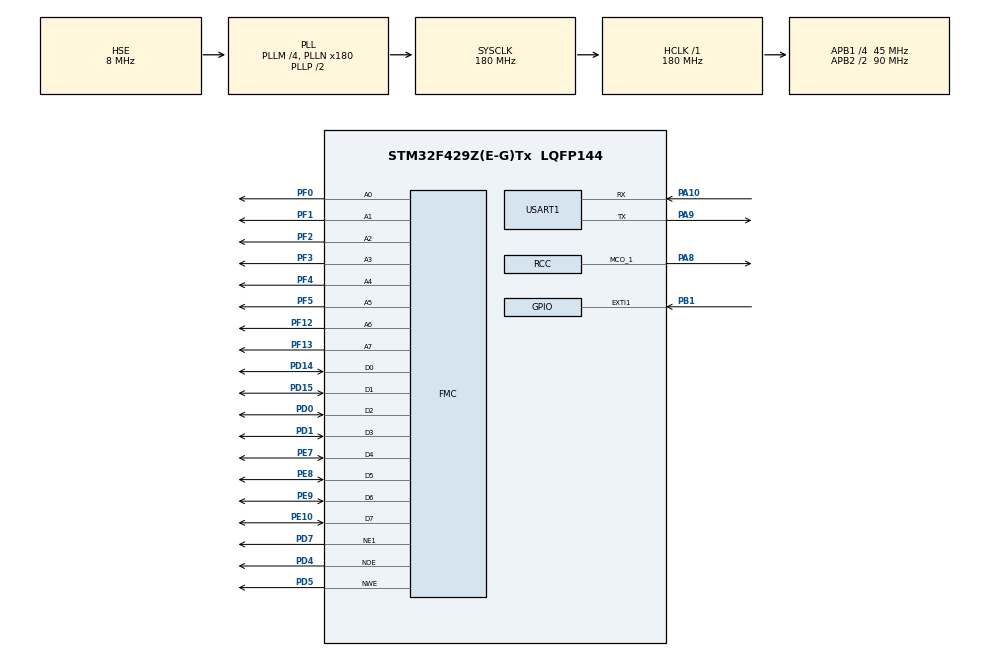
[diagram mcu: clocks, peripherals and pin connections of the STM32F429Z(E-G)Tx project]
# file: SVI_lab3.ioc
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FMC.WriteOperation1=FMC_WRITE_OPERATION_ENABLE
Mcu.Family=STM32F4
Mcu.Name=STM32F429Z(E-G)Tx
Mcu.Package=LQFP144
NVIC.EXTI1_IRQn=true\:0\:0\:false\:false\:true\:true\:true
NVIC.PriorityGroup=NVIC_PRIORITYGROUP_4
PA10.Mode=Asynchronous
PA10.Signal=USART1_RX
PA8.Mode=Clock-out-1
PA8.Signal=RCC_MCO_1
PA9.Mode=Asynchronous
PA9.Signal=USART1_TX
PB1.GPIO_ModeDefaultEXTI=GPIO_MODE_IT_RISING
PB1.GPIO_PuPd=GPIO_PULLUP
PB1.Signal=GPXTI1
PD0.Signal=FMC_D2_DA2
PD1.Signal=FMC_D3_DA3
PD14.Signal=FMC_D0_DA0
PD15.Signal=FMC_D1_DA1
PD4.Signal=FMC_NOE
PD5.Signal=FMC_NWE
PD7.Mode=NorPsramChipSelect1_1
PD7.Signal=FMC_NE1
PE10.Signal=FMC_D7_DA7
PE7.Signal=FMC_D4_DA4
PE8.Signal=FMC_D5_DA5
PE9.Signal=FMC_D6_DA6
PF0.Signal=FMC_A0
PF1.Signal=FMC_A1
PF12.Signal=FMC_A6
PF13.Signal=FMC_A7
PF2.Signal=FMC_A2
PF3.Signal=FMC_A3
PF4.Signal=FMC_A4
PF5.Signal=FMC_A5
PH0/OSC_IN.Mode=HSE-External-Oscillator
PH0/OSC_IN.Signal=RCC_OSC_IN
PH1/OSC_OUT.Mode=HSE-External-Oscillator
PH1/OSC_OUT.Signal=RCC_OSC_OUT
ProjectManager.HeapSize=0x200
ProjectManager.StackSize=0x400
ProjectManager.TargetToolchain=TrueSTUDIO
RCC.48MHZClocksFreq_Value=90000000
RCC.AHBFreq_Value=180000000
RCC.APB1CLKDivider=RCC_HCLK_DIV4
RCC.APB1Freq_Value=45000000
RCC.APB1TimFreq_Value=90000000
RCC.APB2CLKDivider=RCC_HCLK_DIV2
RCC.APB2Freq_Value=90000000
RCC.APB2TimFreq_Value=180000000
RCC.CortexFreq_Value=180000000
RCC.HCLKFreq_Value=180000000
RCC.HSE_VALUE=8000000
RCC.HSI_VALUE=16000000
RCC.LSE_VALUE=32768
RCC.PLLM=4
RCC.PLLN=180
RCC.PLLSourceVirtual=RCC_PLLSOURCE_HSE
RCC.SYSCLKFreq_VALUE=180000000
RCC.SYSCLKSource=RCC_SYSCLKSOURCE_PLLCLK
RCC.VCOOutputFreq_Value=360000000
SH.FMC_A0.0=FMC_A0,8b-a1
SH.FMC_A1.0=FMC_A1,8b-a1
SH.FMC_A2.0=FMC_A2,8b-a1
SH.FMC_A3.0=FMC_A3,8b-a1
SH.FMC_A4.0=FMC_A4,8b-a1
SH.FMC_A5.0=FMC_A5,8b-a1
SH.FMC_A6.0=FMC_A6,8b-a1
SH.FMC_A7.0=FMC_A7,8b-a1
SH.FMC_D0_DA0.0=FMC_D0,8b-d1
SH.FMC_D1_DA1.0=FMC_D1,8b-d1
SH.FMC_D2_DA2.0=FMC_D2,8b-d1
SH.FMC_D3_DA3.0=FMC_D3,8b-d1
SH.FMC_D4_DA4.0=FMC_D4,8b-d1
SH.FMC_D5_DA5.0=FMC_D5,8b-d1
SH.FMC_D6_DA6.0=FMC_D6,8b-d1
SH.FMC_D7_DA7.0=FMC_D7,8b-d1
SH.FMC_NOE.0=FMC_NOE,Sram1
SH.FMC_NWE.0=FMC_NWE,Sram1
USART1.VirtualMode=VM_ASYNC
board=custom

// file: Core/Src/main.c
/* USER CODE BEGIN Header */
/**
  ******************************************************************************
  * @file           : main.c
  * @brief          : Main program body
  ******************************************************************************
  * @attention
  *
  * <h2><center>&copy; Copyright (c) 2021 STMicroelectronics.
  * All rights reserved.</center></h2>
  *
  * This software component is licensed by ST under BSD 3-Clause license,
  * the "License"; You may not use this file except in compliance with the
  * License. You may obtain a copy of the License at:
  *                        opensource.org/licenses/BSD-3-Clause
  *
  ******************************************************************************
  */
/* USER CODE END Header */
#include "main.h"

/* USER CODE BEGIN Includes */
#include "Inel_SVI.h"
#include <stdio.h>
/* USER CODE END Includes */

UART_HandleTypeDef huart1;

SRAM_HandleTypeDef hsram1;

/* USER CODE BEGIN PV */
uint8_t num_digits[4];
uint16_t btn_counter = 99;
volatile uint8_t flag_irq = 0;
volatile uint32_t time_irq = 0;
/* USER CODE END PV */

void SystemClock_Config(void);
static void MX_GPIO_Init(void);
static void MX_FMC_Init(void);
static void MX_USART1_UART_Init(void);
/* USER CODE BEGIN PFP */
void ExtSramWrite(uint32_t addr, uint8_t data);
void DynamicDisplay(uint16_t num);
/* USER CODE END PFP */

int main(void)
{

  /* MCU Configuration--------------------------------------------------------*/

  /* Reset of all peripherals, Initializes the Flash interface and the Systick. */
  HAL_Init();

  /* Configure the system clock */
  SystemClock_Config();

  /* Initialize all configured peripherals */
  MX_GPIO_Init();
  MX_FMC_Init();
  MX_USART1_UART_Init();

  /* Infinite loop */
  while (1)
  {

    /* USER CODE BEGIN 3 */
	  /*10.3U indication
	  ExtSramWrite(Inel_SVI_SEGMENTS, Inel_SVI_Numbrs[1]);
	  ExtSramWrite(Inel_SVI_ANODES, 8);
	  HAL_Delay(2);
	  ExtSramWrite(Inel_SVI_SEGMENTS, Inel_SVI_Numbrs[0]|(1<<7));
	  ExtSramWrite(Inel_SVI_ANODES, 4);
	  HAL_Delay(2);
	  ExtSramWrite(Inel_SVI_SEGMENTS, Inel_SVI_Numbrs[3]);
	  ExtSramWrite(Inel_SVI_ANODES, 2);
	  HAL_Delay(2);
	  //U consist from: fedcb segments: 00111110 - 0x3E
	  ExtSramWrite(Inel_SVI_SEGMENTS, 0x3E);
	  ExtSramWrite(Inel_SVI_ANODES, 1);
	  HAL_Delay(2);
	  */
	  DynamicDisplay(btn_counter);

	  if(flag_irq && (HAL_GetTick() - time_irq) > 200) //(bounce of contacts avoiding) on BTN4
		  	  	  	  	  	  	  	  	  	  	  	   //check flag and count for 200ms
	  {
	    __HAL_GPIO_EXTI_CLEAR_IT(GPIO_PIN_1);  // clear bit EXTI_PR
	    NVIC_ClearPendingIRQ(EXTI1_IRQn); // clear bit NVIC_ICPRx
	    HAL_NVIC_EnableIRQ(EXTI1_IRQn);   // enable EXTI1
	    flag_irq = 0;

		if(btn_counter <= 9999) { //check max length on indicator
			btn_counter++;
		} else {
			btn_counter = 0;
		}

		DynamicDisplay(btn_counter);
	  }
  }
  /* USER CODE END 3 */
}

void SystemClock_Config(void)
{
  RCC_OscInitTypeDef RCC_OscInitStruct = {0};
  RCC_ClkInitTypeDef RCC_ClkInitStruct = {0};

  /** Configure the main internal regulator output voltage
  */
  __HAL_RCC_PWR_CLK_ENABLE();
  __HAL_PWR_VOLTAGESCALING_CONFIG(PWR_REGULATOR_VOLTAGE_SCALE1);
  /** Initializes the RCC Oscillators according to the specified parameters
  * in the RCC_OscInitTypeDef structure.
  */
  RCC_OscInitStruct.OscillatorType = RCC_OSCILLATORTYPE_HSI|RCC_OSCILLATORTYPE_HSE;
  RCC_OscInitStruct.HSEState = RCC_HSE_ON;
  RCC_OscInitStruct.HSIState = RCC_HSI_ON;
  RCC_OscInitStruct.HSICalibrationValue = RCC_HSICALIBRATION_DEFAULT;
  RCC_OscInitStruct.PLL.PLLState = RCC_PLL_ON;
  RCC_OscInitStruct.PLL.PLLSource = RCC_PLLSOURCE_HSE;
  RCC_OscInitStruct.PLL.PLLM = 4;
  RCC_OscInitStruct.PLL.PLLN = 180;
  RCC_OscInitStruct.PLL.PLLP = RCC_PLLP_DIV2;
  RCC_OscInitStruct.PLL.PLLQ = 4;
  if (HAL_RCC_OscConfig(&RCC_OscInitStruct) != HAL_OK)
  {
    Error_Handler();
  }
  /** Activate the Over-Drive mode
  */
  if (HAL_PWREx_EnableOverDrive() != HAL_OK)
  {
    Error_Handler();
  }
  /** Initializes the CPU, AHB and APB buses clocks
  */
  RCC_ClkInitStruct.ClockType = RCC_CLOCKTYPE_HCLK|RCC_CLOCKTYPE_SYSCLK
                              |RCC_CLOCKTYPE_PCLK1|RCC_CLOCKTYPE_PCLK2;
  RCC_ClkInitStruct.SYSCLKSource = RCC_SYSCLKSOURCE_PLLCLK;
  RCC_ClkInitStruct.AHBCLKDivider = RCC_SYSCLK_DIV1;
  RCC_ClkInitStruct.APB1CLKDivider = RCC_HCLK_DIV4;
  RCC_ClkInitStruct.APB2CLKDivider = RCC_HCLK_DIV2;

  if (HAL_RCC_ClockConfig(&RCC_ClkInitStruct, FLASH_LATENCY_5) != HAL_OK)
  {
    Error_Handler();
  }
  HAL_RCC_MCOConfig(RCC_MCO1, RCC_MCO1SOURCE_HSI, RCC_MCODIV_1);
}

static void MX_USART1_UART_Init(void)
{

  huart1.Instance = USART1;
  huart1.Init.BaudRate = 115200;
  huart1.Init.WordLength = UART_WORDLENGTH_8B;
  huart1.Init.StopBits = UART_STOPBITS_1;
  huart1.Init.Parity = UART_PARITY_NONE;
  huart1.Init.Mode = UART_MODE_TX_RX;
  huart1.Init.HwFlowCtl = UART_HWCONTROL_NONE;
  huart1.Init.OverSampling = UART_OVERSAMPLING_16;
  if (HAL_UART_Init(&huart1) != HAL_OK)
  {
    Error_Handler();
  }

}

/* FMC initialization function */
static void MX_FMC_Init(void)
{

  FMC_NORSRAM_TimingTypeDef Timing = {0};

  /** Perform the SRAM1 memory initialization sequence
  */
  hsram1.Instance = FMC_NORSRAM_DEVICE;
  hsram1.Extended = FMC_NORSRAM_EXTENDED_DEVICE;
  /* hsram1.Init */
  hsram1.Init.NSBank = FMC_NORSRAM_BANK1;
  hsram1.Init.DataAddressMux = FMC_DATA_ADDRESS_MUX_DISABLE;
  hsram1.Init.MemoryType = FMC_MEMORY_TYPE_SRAM;
  hsram1.Init.MemoryDataWidth = FMC_NORSRAM_MEM_BUS_WIDTH_8;
  hsram1.Init.BurstAccessMode = FMC_BURST_ACCESS_MODE_DISABLE;
  hsram1.Init.WaitSignalPolarity = FMC_WAIT_SIGNAL_POLARITY_LOW;
  hsram1.Init.WrapMode = FMC_WRAP_MODE_DISABLE;
  hsram1.Init.WaitSignalActive = FMC_WAIT_TIMING_BEFORE_WS;
  hsram1.Init.WriteOperation = FMC_WRITE_OPERATION_ENABLE;
  hsram1.Init.WaitSignal = FMC_WAIT_SIGNAL_DISABLE;
  hsram1.Init.ExtendedMode = FMC_EXTENDED_MODE_DISABLE;
  hsram1.Init.AsynchronousWait = FMC_ASYNCHRONOUS_WAIT_DISABLE;
  hsram1.Init.WriteBurst = FMC_WRITE_BURST_DISABLE;
  hsram1.Init.ContinuousClock = FMC_CONTINUOUS_CLOCK_SYNC_ONLY;
  hsram1.Init.PageSize = FMC_PAGE_SIZE_NONE;
  /* Timing */
  Timing.AddressSetupTime = 15;
  Timing.AddressHoldTime = 15;
  Timing.DataSetupTime = 255;
  Timing.BusTurnAroundDuration = 15;
  Timing.CLKDivision = 16;
  Timing.DataLatency = 17;
  Timing.AccessMode = FMC_ACCESS_MODE_A;
  /* ExtTiming */

  if (HAL_SRAM_Init(&hsram1, &Timing, NULL) != HAL_OK)
  {
    Error_Handler( );
  }

}

static void MX_GPIO_Init(void)
{
  GPIO_InitTypeDef GPIO_InitStruct = {0};

  /* GPIO Ports Clock Enable */
  __HAL_RCC_GPIOF_CLK_ENABLE();
  __HAL_RCC_GPIOH_CLK_ENABLE();
  __HAL_RCC_GPIOB_CLK_ENABLE();
  __HAL_RCC_GPIOE_CLK_ENABLE();
  __HAL_RCC_GPIOD_CLK_ENABLE();
  __HAL_RCC_GPIOA_CLK_ENABLE();

  /*Configure GPIO pin : PB1 */
  GPIO_InitStruct.Pin = GPIO_PIN_1;
  GPIO_InitStruct.Mode = GPIO_MODE_IT_RISING;
  GPIO_InitStruct.Pull = GPIO_PULLUP;
  HAL_GPIO_Init(GPIOB, &GPIO_InitStruct);

  /*Configure GPIO pin : PA8 */
  GPIO_InitStruct.Pin = GPIO_PIN_8;
  GPIO_InitStruct.Mode = GPIO_MODE_AF_PP;
  GPIO_InitStruct.Pull = GPIO_NOPULL;
  GPIO_InitStruct.Speed = GPIO_SPEED_FREQ_LOW;
  GPIO_InitStruct.Alternate = GPIO_AF0_MCO;
  HAL_GPIO_Init(GPIOA, &GPIO_InitStruct);

  /* EXTI interrupt init*/
  HAL_NVIC_SetPriority(EXTI1_IRQn, 0, 0);
  HAL_NVIC_EnableIRQ(EXTI1_IRQn);

}

/* USER CODE BEGIN 4 */
void ExtSramWrite(uint32_t addr, uint8_t data) {
	uint8_t* pAddress = (uint8_t* )addr;
	*pAddress = data;
}

void DynamicDisplay(uint16_t num) {

	//Clear array of digits
	for(uint16_t i = 0; i < 4; i++) {
		num_digits[i] = '\0';
	}

	//Extract digits
	sprintf((char*)num_digits,"%u",num);

	//Print
	for(uint16_t i = 0; i < 4; i++) {
		if(num_digits[i] != '\0') {
			uint16_t value = num_digits[i] - '0'; //get num-index, substract ascii code char from ascii code '0'
			ExtSramWrite(Inel_SVI_SEGMENTS, Inel_SVI_Numbrs[value]);
			ExtSramWrite(Inel_SVI_ANODES, anodes[i]);
			HAL_Delay(2);
		}
	}
}

void HAL_GPIO_EXTI_Callback(uint16_t GPIO_Pin) {
	if(GPIO_Pin == GPIO_PIN_1) {
		//btn 4 were pressed
		HAL_NVIC_DisableIRQ(EXTI1_IRQn); // disable IRQ on line
		flag_irq = 1;
		time_irq = HAL_GetTick();
	}
}
/* USER CODE END 4 */

void Error_Handler(void)
{
  __disable_irq();
  while (1)
  {
  }
}

/************************ (C) COPYRIGHT STMicroelectronics *****END OF FILE****/
